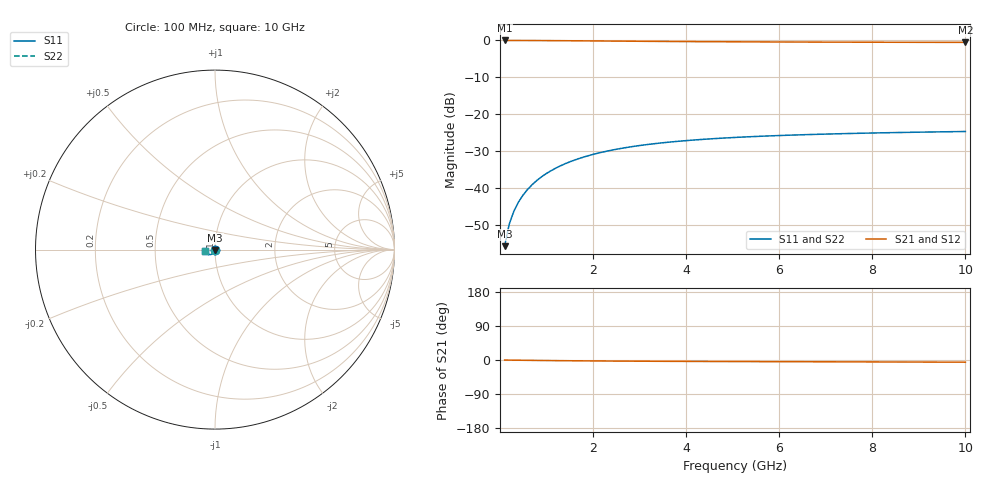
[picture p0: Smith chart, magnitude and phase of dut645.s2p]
! Touchstone file exported from HFSS 2024.1.0
!  File:  C:/UserFiles/LocalFiles/RDL_TSV_Batchsim/temp_TSV1_645_1779791460.aedt
!  Generated:  06:36:09 PM May 26, 2026
!  Design:  TSV1
!  Project:  temp_TSV1_645_1779791460
!  Setup:  Setup1
!  Solution:  Sweep
! Variables:
!  dtsv = 11.64um
!  hbump = 3um
!  htsv = 90.67um
!  lrdl = 252.1521522um
!  p = 40
!  p1 = 48.89um
!  t = 500um
!  trdl = 3um
!  wrdl = 24.89489489um
# GHz S MA R 50.000000
! Terminal data exported
! Port[1] = TSV22_T1
! Port[2] = TSV22_T2
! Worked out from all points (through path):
!   100 points, 100 MHz to 10 GHz, reference 50 ohm
!   highest |S21| = 0.00 dB at 100 MHz (marker M1); lowest = -0.5 dB at 10 GHz (marker M2)
!   lowest |S11| = -55.8 dB at 100 MHz (marker M3), VSWR 1.00, Z = 50 - j0.162 ohm
!   |S11| at or under -10 dB: start of sweep to end of sweep
!   |S22| runs from -55.8 to -24.7 dB; largest |S21 - S12| = 4.3e-15
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0.1  0.001622 -87.6  0.9998 -0.1  0.9998 -0.1  0.001622 -87.6
! Gamma 0 0 0 0
! Port Impedance 50 0 50 0
0.2  0.003238 -91.2  0.9997 -0.3  0.9997 -0.3  0.003238 -91.2
0.3  0.004854 -93.5  0.9994 -0.4  0.9994 -0.4  0.004854 -93.5
0.4  0.006462 -95.5  0.9991 -0.6  0.9991 -0.6  0.006462 -95.5
0.5  0.008059 -97.4  0.9986 -0.7  0.9986 -0.7  0.008059 -97.4
0.6  0.009639 -99.2  0.9981 -0.9  0.9981 -0.9  0.009639 -99.2
0.7  0.0112 -101.0  0.9975 -1.0  0.9975 -1.0  0.0112 -101.0
0.8  0.01273 -102.7  0.9968 -1.1  0.9968 -1.1  0.01273 -102.7
0.9  0.01424 -104.4  0.9961 -1.3  0.9961 -1.3  0.01424 -104.4
1.1  0.01716 -107.7  0.9945 -1.5  0.9945 -1.5  0.01716 -107.7
1.4  0.02127 -112.4  0.9916 -1.9  0.9916 -1.9  0.02127 -112.4
1.6  0.02383 -115.4  0.9896 -2.1  0.9896 -2.1  0.02383 -115.4
1.8  0.02623 -118.2  0.9874 -2.3  0.9874 -2.3  0.02623 -118.2
2.1  0.02954 -122.2  0.9842 -2.5  0.9842 -2.5  0.02954 -122.2
2.5  0.03344 -127.1  0.9798 -2.8  0.9798 -2.8  0.03344 -127.1
2.9  0.03679 -131.6  0.9757 -3.1  0.9757 -3.1  0.0368 -131.6
3.4  0.04034 -136.5  0.9709 -3.4  0.9709 -3.4  0.04034 -136.5
4.2  0.0448 -143.2  0.9643 -3.8  0.9643 -3.8  0.0448 -143.2
5.1  0.04854 -149.5  0.9583 -4.1  0.9583 -4.1  0.04854 -149.5
6.7  0.05307 -158.3  0.9506 -4.7  0.9506 -4.7  0.05307 -158.3
8.4  0.05618 -165.5  0.9451 -5.2  0.9451 -5.2  0.05618 -165.5
10  0.05822 -171.1  0.9416 -5.7  0.9416 -5.7  0.05822 -171.1
